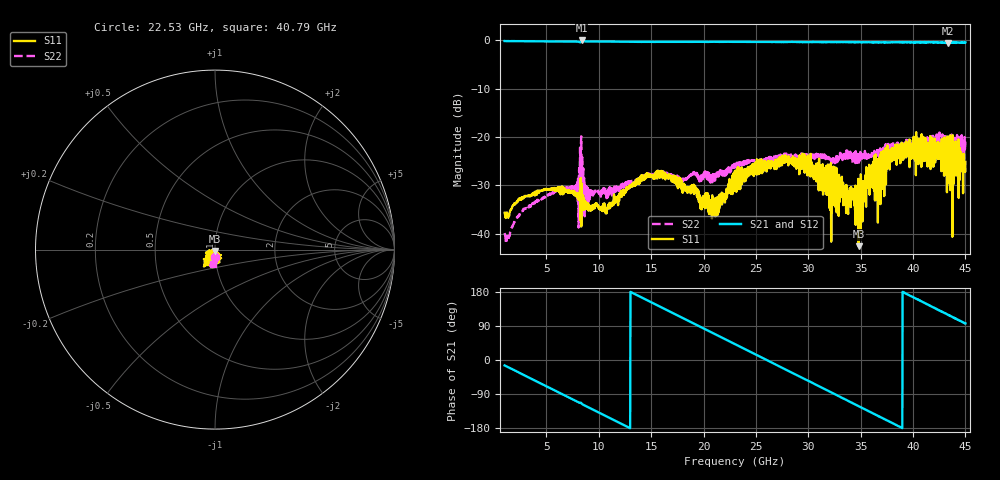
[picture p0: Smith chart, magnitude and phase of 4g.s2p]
!Keysight Technologies,N5247B,MY61255062,A.19.80.06
!Date: Tuesday, May 26, 2026 11:42:27
!Correction: S11(C  2-Port  )
!S21(C  2-Port  )
!S12(C  2-Port  )
!S22(C  2-Port  )
!S2P File: Measurements: S11, S21, S12, S22:
# Hz S  dB  R 50
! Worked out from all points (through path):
!   1601 points, 1 GHz to 45 GHz, reference 50 ohm
!   highest |S21| = -0.01 dB at 8.342 GHz (marker M1); lowest = -0.6 dB at 43.35 GHz (marker M2)
!   group delay of S21, straight-line fit = 38.5 ps
!   lowest |S11| = -42.6 dB at 34.8 GHz (marker M3), VSWR 1.01, Z = 50.2 - j0.716 ohm
!   |S11| at or under -10 dB: start of sweep to end of sweep
!   |S22| runs from -42.0 to -19.1 dB; largest |S21 - S12| = 0.025
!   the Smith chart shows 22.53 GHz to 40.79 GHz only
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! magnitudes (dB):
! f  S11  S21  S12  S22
! 1 GHz  -35.7  -0.1  -0.1  -39.9
! 3.97 GHz  -31.7  -0.2  -0.2  -33.6
! 7.93 GHz  -32.4  -0.2  -0.2  -29.4
! 8.205 GHz  -31.0  -0.4  -0.4  -22.2
! 8.342 GHz  -29.6  0.0  0.0  -23.0
! 8.865 GHz  -34.8  -0.2  -0.2  -30.3
! 10.79 GHz  -35.0  -0.2  -0.2  -31.5
! 14.09 GHz  -28.8  -0.3  -0.3  -28.2
! 15.69 GHz  -27.5  -0.3  -0.3  -27.6
! 19.09 GHz  -31.8  -0.3  -0.3  -27.2
! 20.91 GHz  -33.1  -0.3  -0.3  -28.8
! 23 GHz  -27.0  -0.3  -0.3  -25.6
! 27.73 GHz  -24.8  -0.3  -0.3  -24.3
! 30.34 GHz  -26.1  -0.3  -0.3  -23.6
! 33.73 GHz  -33.7  -0.3  -0.3  -22.8
! 34.8 GHz  -42.6  -0.4  -0.3  -23.8
! 35.76 GHz  -29.4  -0.4  -0.4  -24.0
! 36.78 GHz  -26.2  -0.4  -0.4  -23.4
! 37.69 GHz  -25.6  -0.4  -0.4  -23.4
! 40.27 GHz  -27.9  -0.3  -0.4  -21.0
! 43.35 GHz  -20.2  -0.6  -0.4  -21.4
! 45 GHz  -25.1  -0.4  -0.5  -20.6
